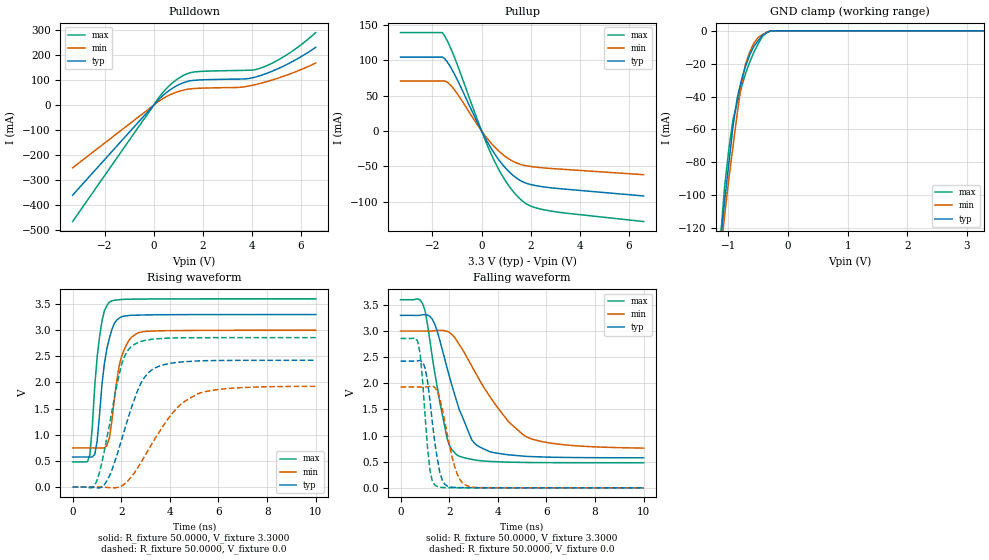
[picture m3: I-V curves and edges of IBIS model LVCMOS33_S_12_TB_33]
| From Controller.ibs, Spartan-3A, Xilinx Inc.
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|   Model LVCMOS33_S_12_TB_33
[Model]  LVCMOS33_S_12_TB_33
Model_type I/O
Polarity   Non-Inverting
Enable   Active-Low
Vinl =   0.8000V
Vinh =   2.0000V
Vmeas =  1.6500V
Cref =   0.0F
Rref =   1.0000M
Vref =   0.0V
C_comp   6.5640pF   6.1748pF   7.0674pF
[Temperature Range]   27.0000   85.0000   0.0
[Voltage Range]   3.3000V   3.0000V   3.6000V
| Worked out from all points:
|   slope of the pulldown table from 0 to 0.495 V, typ, clamps not added: 10.2 ohm
|   slope of the pullup table from 0 to 0.495 V, typ, clamps not added: 16.2 ohm
|   GND clamp passes 1 mA (typ) near -0.34 V on its own axis
|   rising waveform, R_fixture 50.0000, V_fixture 3.3000: 20-80 % time 410ps typ, 461ps min, 342ps max; typ from 0.574 V to 3.3 V
|   rising waveform, R_fixture 50.0000, V_fixture 0.0: 20-80 % time 1.03ns typ, 1.66ns min, 734ps max; typ from 0 V to 2.42 V
|   falling waveform, R_fixture 50.0000, V_fixture 3.3000: 20-80 % time 1.1ns typ, 1.91ns min, 690ps max; typ from 3.3 V to 0.575 V
|   falling waveform, R_fixture 50.0000, V_fixture 0.0: 20-80 % time 403ps typ, 543ps min, 294ps max; typ from 2.42 V to 0 V
[Pulldown]
|Voltage   I(typ)   I(min)   I(max)
-3.3V     -360.1mA   -250.7mA   -465.6mA
200mV     21.85mA    14.84mA    28.86mA
500mV     48.84mA    33.15mA    64.43mA
900mV     75.44mA    51.02mA    99.68mA
1.3V      92.75mA    62.25mA    123.2mA
1.6V      98.98mA    66.27mA    132.1mA
3.5V      104.5mA    71.31mA    138.9mA
4.3V      117.1mA    86.12mA    146.5mA
4.8V      134.9mA    99.88mA    166.9mA
5.4V      161.7mA    119.4mA    200.3mA
6V        193.9mA    142.3mA    241.6mA
6.6V      231.6mA    168.5mA    290.4mA
[Pullup]
|Voltage   I(typ)   I(min)   I(max)
-3.3V     104.3mA    70.56mA    138.9mA
-1.6V     104.3mA    70.56mA    138.9mA
-1.4V     97.62mA    69.08mA    127.6mA
-1.2V     86.28mA    62.17mA    112.1mA
100mV     -6.808mA   -4.816mA   -9.019mA
500mV     -30.74mA   -21.57mA   -40.96mA
800mV     -45.31mA   -31.54mA   -60.74mA
1.1V      -57.07mA   -39.31mA   -77.09mA
1.7V      -72.39mA   -48.37mA   -100.1mA
2.1V      -76.6mA    -50.74mA   -107.5mA
2.9V      -80.68mA   -53.32mA   -113.7mA
6.6V      -91.96mA   -61.89mA   -128.1mA
[GND_clamp]
|Voltage   I(typ)   I(min)   I(max)
-3.3V     -1A        -900mA     -1.15A
-1.13V    -128.6mA   -136.9mA   -126mA
-1.06V    -103.6mA   -112.3mA   -94.8mA
-990mV    -80.74mA   -90.11mA   -72mA
-920mV    -58.26mA   -70.33mA   -54mA
-850mV    -41mA      -50.55mA   -44mA
-780mV    -30mA      -32.5mA    -34.5mA
-710mV    -21.5mA    -20.25mA   -26mA
-570mV    -9.5mA     -7.5mA     -13mA
-430mV    -2.75mA    -2.4mA     -3.625mA
-360mV    -1.333mA   -1mA       -1mA
3.28V     0A         0A         0A
[POWER_clamp]
|Voltage   I(typ)   I(min)   I(max)
-3.28V    0A         0A         0A
-3.24V    0A         0A         0A
-3.2V     0A         0A         0A
0V        0A         0A         0A
[Ramp]
dV/dt_r  1.4550/1.0164n   1.1562/1.6481n   1.7148/0.7240n
dV/dt_f  1.6352/1.0886n   1.3438/1.8918n   1.8716/0.6803n
R_load = 50.0000
[Rising Waveform]
R_fixture= 50.0000
V_fixture= 3.3000
V_fixture_min= 3.0000
V_fixture_max= 3.6000
|time   V(typ)   V(min)   V(max)
0s        574mV      747.8mV    480.6mV
710ps     573.6mV    747.8mV    616.1mV
910ps     623.4mV    747.8mV    1.929V
1.01ns    883mV      747.9mV    2.489V
1.21ns    1.976V     745.7mV    3.179V
1.52ns    2.857V     952.8mV    3.542V
1.92ns    3.234V     2.334V     3.584V
2.22ns    3.276V     2.726V     3.592V
2.63ns    3.288V     2.936V     3.595V
10ns      3.3V       2.999V     3.6V
[Rising Waveform]
R_fixture= 50.0000
V_fixture= 0.0
|time   V(typ)   V(min)   V(max)
0s        0V         0V         0V
810ps     -2.513mV   -1.798uV   -11.65mV
1.01ns    -15.37mV   -7.11uV    137.3mV
1.52ns    216mV      -12.09mV   1.196V
2.02ns    913.7mV    21.66mV    2.354V
2.53ns    1.662V     265.1mV    2.725V
3.33ns    2.263V     881.7mV    2.831V
4.34ns    2.386V     1.534V     2.854V
5.15ns    2.412V     1.786V     2.857V
10ns      2.425V     1.927V     2.858V
[Falling Waveform]
R_fixture= 50.0000
V_fixture= 3.3000
V_fixture_min= 3.0000
V_fixture_max= 3.6000
|time   V(typ)   V(min)   V(max)
0s        3.3V       3V         3.6V
910ps     3.312V     3V         3.524V
1.11ns    3.308V     2.999V     3.127V
1.41ns    3.13V      3.007V     2.191V
1.92ns    2.285V     2.993V     940.5mV
2.32ns    1.642V     2.812V     628.2mV
3.13ns    818.8mV    2.161V     527.3mV
4.44ns    631.6mV    1.268V     491.6mV
5.15ns    603.4mV    983.7mV    485.6mV
10ns      574.7mV    760.3mV    480.7mV
[Falling Waveform]
R_fixture= 50.0000
V_fixture= 0.0
|time   V(typ)   V(min)   V(max)
0s        2.425V     1.93V      2.858V
710ps     2.429V     1.93V      2.801V
810ps     2.438V     1.93V      2.559V
1.01ns    2.29V      1.93V      1.38V
1.21ns    1.672V     1.942V     334mV
1.41ns    863mV      1.921V     53.29mV
1.82ns    67.6mV     1.272V     5.203mV
2.22ns    8.169mV    417.9mV    2.295mV
2.63ns    3.633mV    63.16mV    1.103mV
10ns      17.07uV    113.8uV    2.725uV
